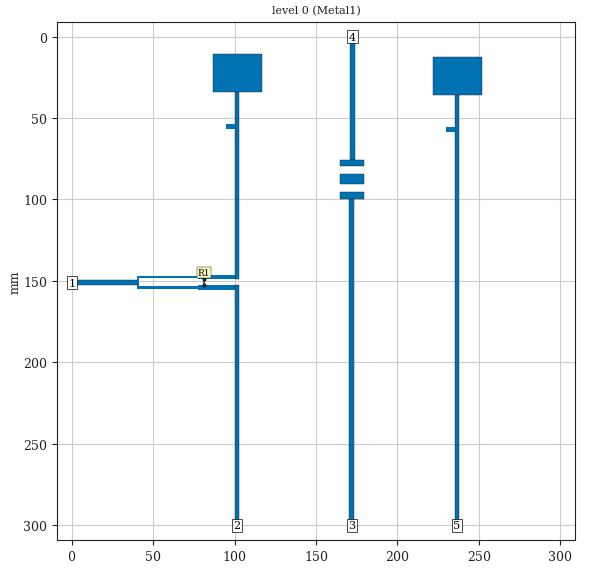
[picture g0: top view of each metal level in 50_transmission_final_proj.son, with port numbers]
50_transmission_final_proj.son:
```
FTYP SONPROJ 19 ! Sonnet Project File
VER 18.53
HEADER
LIC SL66199d8c
DAT 05/06/2024 12:00:06
BUILT_BY_CREATED xgeom 18.53-Lite 05/02/2024 20:50:09
BUILT_BY_SAVED sonnet 18.53-Lite
MDATE 05/06/2024 12:00:05
HDATE 05/06/2024 12:00:05
END HEADER
DIM
ANG DEG
CAP PF
CON /OH
FREQ GHZ
IND NH
LNG MM
RES OH
END DIM
CONTROL
VARSWP
OPTIONS  -d
SPEED 0
CACHE_ABS 2
Q_ACC N
END CONTROL
GEO
TMET "Free Space" 0 FREESPACE 376.7303136 0 0 0
BMET "Lossless" 0 SUP 0 0 0 0
BOX 1 300 300 1200 1200 20 0
      2 1 1 0 0 0 0 "Air"
      1.5 4.4 1 0.02 0 0 0 "FR-4"
TECHLAY METAL Metal1 <UNSPECIFIED> -2 -65534 
0 0 -1 N 9 1 1 100 100 0 0 0 Y
END
END
DIM STD XDIR 1
POS 0.8197816401 -0.1507760354
NOM 36.75
REF1 POLY 103 1
3
REF2 POLY 103 1
0
END
DIM STD XDIR 1
POS 0.9036968901 0.1270085246
NOM 36.80375
REF1 POLY 104 1
3
REF2 POLY 104 1
0
END
DIM STD YDIR -1
POS -0.1549563164 -0.3331240516
NOM 2.5661
REF1 POLY 99 1
0
REF2 POLY 107 1
2
END
DIM STD XDIR 1
POS 0.4758499099 -0.1146194817
NOM 22.5
REF1 POLY 105 1
2
REF2 POLY 105 1
1
END
DIM STD XDIR 1
POS 0.4829764341 0.09756683596
NOM 22.5
REF1 POLY 106 1
2
REF2 POLY 106 1
1
END
DIM STD YDIR -1
POS -0.143635399 -0.1018983937
NOM 2.5661
REF1 POLY 107 1
1
REF2 POLY 99 1
1
END
DIM STD XDIR 1
POS 31.57408288 -8.015709566
NOM 30.41
REF1 POLY 123 1
0
REF2 POLY 123 1
1
END
DIM STD YDIR 1
POS 8.292444723 23.34908254
NOM 23.45
REF1 POLY 123 1
1
REF2 POLY 123 1
2
END
DIM STD XDIR 1
POS 3.18286962 20.753905
NOM 2.867789
REF1 POLY 120 1
0
REF2 POLY 120 1
1
END
DIM STD XDIR 1
POS 5.111303464 -2.613005779
NOM 5.42123
REF1 POLY 122 1
0
REF2 POLY 122 1
1
END
DIM STD YDIR 1
POS -8.048325029 9.247363065
NOM 19.75
REF1 POLY 123 1
3
REF2 POLY 122 1
0
END
DIM STD YDIR 1
POS 8.699701733 123.4516112
NOM 115
REF1 POLY 120 1
1
REF2 POLY 120 1
2
END
DIM STD XDIR 1
POS 31.57408288 -8.015709566
NOM 30.41
REF1 POLY 134 1
0
REF2 POLY 134 1
1
END
DIM STD YDIR 1
POS 8.292444723 23.34908254
NOM 23.45
REF1 POLY 134 1
1
REF2 POLY 134 1
2
END
DIM STD XDIR 1
POS 3.18286962 20.753905
NOM 2.867789
REF1 POLY 133 1
0
REF2 POLY 133 1
1
END
DIM STD XDIR 1
POS 5.111303464 -2.613005779
NOM 5.42123
REF1 POLY 135 1
0
REF2 POLY 135 1
1
END
DIM STD YDIR 1
POS -8.048325029 9.247363065
NOM 19.75
REF1 POLY 134 1
3
REF2 POLY 135 1
0
END
DIM STD YDIR 1
POS 9.69970173 128.9516112
NOM 264
REF1 POLY 133 1
1
REF2 POLY 133 1
2
END
DIM STD XDIR 1
POS 3.18286962 20.753905
NOM 2.867789
REF1 POLY 145 1
0
REF2 POLY 145 1
1
END
DIM STD YDIR 1
POS 8.69970173 126.9516112
NOM 147.5
REF1 POLY 145 1
1
REF2 POLY 145 1
2
END
DIM STD XDIR -1
POS -40.02474618 -0.3510569686
NOM 40.0661
REF1 POLY 99 1
0
REF2 POLY 99 1
3
END
DIM STD YDIR 1
POS 2.199932083 3.606414943
NOM 3.86957822
REF1 POLY 159 1
1
REF2 POLY 159 1
2
END
DIM STD XDIR 1
POS 14.46528255 -1.331698223
NOM 14.73440705
REF1 POLY 159 1
0
REF2 POLY 159 1
1
END
DIM STD YDIR 1
POS 2.899264601 3.995297884
NOM 4.75856705
REF1 POLY 156 1
1
REF2 POLY 156 1
2
END
DIM STD XDIR 1
POS 0.7010502204 -1.413064682
NOM 0.38291048
REF1 POLY 156 1
3
REF2 POLY 156 1
2
END
DIM STD YDIR 1
POS 1.505143567 6.029192185
NOM 6.19416001
REF1 POLY 161 1
1
REF2 POLY 161 1
2
END
DIM STD XDIR 1
POS 14.60188311 -1.444395558
NOM 14.73440705
REF1 POLY 161 1
3
REF2 POLY 161 1
2
END
DIM STD XDIR 1
POS 0.9022656324 1.798994547
NOM 0.38291048
REF1 POLY 162 1
0
REF2 POLY 162 1
1
END
DIM STD YDIR 1
POS -0.8222979593 4.991271834
NOM 4.75856705
REF1 POLY 162 1
0
REF2 POLY 162 1
3
END
DIM STD YDIR 1
POS 1.796357397 3.66443641
NOM 4.1530638
REF1 POLY 160 1
1
REF2 POLY 160 1
2
END
DIM STD XDIR 1
POS 14.04852468 -1.497037297
NOM 14.73440705
REF1 POLY 160 1
3
REF2 POLY 160 1
2
END
DIM STD XDIR 1
POS 3.18286962 20.753905
NOM 2.867789
REF1 POLY 154 1
0
REF2 POLY 154 1
1
END
DIM STD YDIR 1
POS 8.699701733 123.4516112
NOM 75.5
REF1 POLY 154 1
1
REF2 POLY 154 1
2
END
DIM STD XDIR 1
POS 3.18286962 20.753905
NOM 2.867789
REF1 POLY 157 1
0
REF2 POLY 157 1
1
END
DIM STD YDIR 1
POS 8.699701733 123.4516112
NOM 200.5
REF1 POLY 157 1
1
REF2 POLY 157 1
2
END
LORGN 0 300 U 
POR1 BOX
POLY 99 1
2
1 50 0 0 0 0.1839 151.0661 
POR1 BOX
POLY 133 1
2
5 50 0 0 0 236.5661055 300 
POR1 BOX
POLY 145 1
2
2 50 0 0 0 101.4338945 300 
POR1 BOX
POLY 154 1
0
4 50 0 0 0 172.4338945 0 
POR1 BOX
POLY 157 1
2
3 50 0 0 0 171.9338945 300 
SMD 0 "R1"
ID 100
GNDREF AUTO
SBOX 75.71695 89.78305 143.53305 157.59915
PBSHW N
LPOS 82.75 143.53305
TYPE IDEAL RES 100
SMDP 0 81.3161 149.0661 T 6 1 
EXSMDP
GNDREF AUTO
TERMW CELL
END EXSMDP
SMDP 0 81.25 152.6322 B 7 2 
EXSMDP
GNDREF AUTO
TERMW CELL
END EXSMDP
END
NUM 20
0 5 -1 N 99 1 1 100 100 0 0 0 Y
TLAYNAM Metal1 INH
40.25 149.6322
40.25 152.5
0.1839 152.5
0.1839 149.6322
40.25 149.6322
END
0 5 -1 N 103 1 1 100 100 0 0 0 Y
TLAYNAM Metal1 INH
77.75 146.86985
77.75 148.38955
41 148.38955
41 146.86985
77.75 146.86985
END
0 5 -1 N 104 1 1 100 100 0 0 0 Y
TLAYNAM Metal1 INH
77.75 153.36985
77.75 154.88955
40.94625 154.88955
40.94625 153.36985
77.75 153.36985
END
0 5 -1 N 105 1 1 100 100 0 0 0 Y
TLAYNAM Metal1 INH
100.25 146.1322
100.25 149
77.75 149
77.75 146.1322
100.25 146.1322
END
0 5 -1 N 106 1 1 100 100 0 0 0 Y
TLAYNAM Metal1 INH
100.25 152.6322
100.25 155.5
77.75 155.5
77.75 152.6322
100.25 152.6322
END
0 5 -1 N 107 1 1 100 100 0 0 0 Y
TLAYNAM Metal1 INH
41.25 155.0661
39.99015 155.0661
39.99015 147.0661
41.25 147.0661
41.25 155.0661
END
0 5 -1 N 120 1 1 100 100 0 0 0 Y
TLAYNAM Metal1 INH
100 34
102.867789 34
102.867789 149
100 149
100 34
END
0 5 -1 N 122 1 1 100 100 0 0 0 Y
TLAYNAM Metal1 INH
94.789385 53.7
100.210615 53.7
100.210615 56.5
94.789385 56.5
94.789385 53.7
END
0 5 -1 N 123 1 1 100 100 0 0 0 Y
TLAYNAM Metal1 INH
86.5 10.5
116.91 10.5
116.91 33.95
86.5 33.95
86.5 10.5
END
0 5 -1 N 133 1 1 100 100 0 0 0 Y
TLAYNAM Metal1 INH
235.132211 36
238 36
238 300
235.132211 300
235.132211 36
END
0 5 -1 N 134 1 1 100 100 0 0 0 Y
TLAYNAM Metal1 INH
221.632211 12.5
252.042211 12.5
252.042211 35.95
221.632211 35.95
221.632211 12.5
END
0 5 -1 N 135 1 1 100 100 0 0 0 Y
TLAYNAM Metal1 INH
229.921596 55.7
235.342826 55.7
235.342826 58.5
229.921596 58.5
229.921596 55.7
END
0 5 -1 N 145 1 1 100 100 0 0 0 Y
TLAYNAM Metal1 INH
100 152.5
102.867789 152.5
102.867789 300
100 300
100 152.5
END
0 5 -1 N 154 1 1 100 100 0 0 0 Y
TLAYNAM Metal1 INH
171 0
173.867789 0
173.867789 75.5
171 75.5
171 0
END
0 5 -1 N 156 1 1 100 100 0 0 0 Y
TLAYNAM Metal1 INH
172 79.5
172.3829105 79.5
172.3829105 84.25856705
172 84.25856705
172 79.5
END
0 5 -1 N 157 1 1 100 100 0 0 0 Y
TLAYNAM Metal1 INH
170.5 99.5
173.367789 99.5
173.367789 300
170.5 300
170.5 99.5
END
0 5 -1 N 159 1 1 100 100 0 0 0 Y
TLAYNAM Metal1 INH
164.5 75.5
179.2344071 75.5
179.2344071 79.36957822
164.5 79.36957822
164.5 75.5
END
0 5 -1 N 160 1 1 100 100 0 0 0 Y
TLAYNAM Metal1 INH
164.5 95.5
179.2344071 95.5
179.2344071 99.6530638
164.5 99.6530638
164.5 95.5
END
0 5 -1 N 161 1 1 100 100 0 0 0 Y
TLAYNAM Metal1 INH
165 84.5
179.7344071 84.5
179.7344071 90.69416001
165 90.69416001
165 84.5
END
0 5 -1 N 162 1 1 100 100 0 0 0 Y
TLAYNAM Metal1 INH
172 90.5
172.3829105 90.5
172.3829105 95.25856705
172 95.25856705
172 90.5
END
END GEO
OPT
MAX 100
END OPT
VARSWP
ENABLED Y
FREQ Y AY ABS_ENTRY 2.0 4.0 -1 300 
FREQ N AN SWEEP 2.0 4.0 0.25
END
END VARSWP
```
